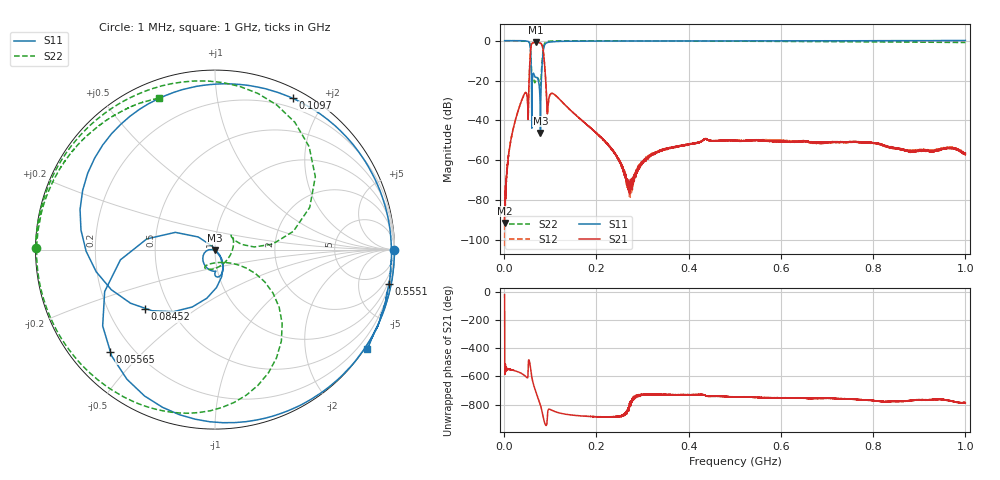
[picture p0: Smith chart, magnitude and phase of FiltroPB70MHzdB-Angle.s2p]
# Hz S DB R 50
! CMT, S5048, 17087083, 18.1.5/2
! Date: 07/03/2018 15:12:27
! Data: Format (Calibration Info)
! Freq  S11: dB/Ang (F2)  S21: dB/Ang (F2)  S12: dB/Ang (F2)  S22: dB/Ang (F2)
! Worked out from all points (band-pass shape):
!   10000 points, 1 MHz to 1 GHz, reference 50 ohm
!   highest |S21| = -0.89 dB at 68.84 MHz (marker M1); lowest = -91.5 dB at 1.1 MHz (marker M2)
!   |S21| within 3 dB of the highest: 57.69 MHz to 83.89 MHz (26.2 MHz wide, 37 % of centre)
!   lowest |S11| = -46.2 dB at 78.73 MHz (marker M3), VSWR 1.01, Z = 49.8 - j0.42 ohm
!   |S11| at or under -10 dB: 58.23 MHz to 82.89 MHz (24.66 MHz wide, 35 % of centre)
!   |S22| runs from -22.7 to 0.0 dB; largest |S21 - S12| = 0.0015
!   S11 on the Smith chart (normalised r, x): 1 MHz: open; 55.65 MHz: 0.12, -0.40; 84.52 MHz: 0.36, -0.32; 109.7 MHz: 0.10, +1.63; 555.1 MHz: 1, -10; 1 GHz: -0.07, -3.34
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1000000  -0.00 -0.1  -84.41 -20.7  -103.06 83.4  -0.02 179.6
1099910  -0.00 -0.1  -91.47 175.5  -85.53 152.1  -0.02 179.5
1.508731e7  0.00 -11.5  -49.19 167.4  -49.26 167.2  -0.03 169.6
3.906571e7  -0.03 -42.4  -29.20 138.0  -29.18 138.1  -0.12 142.3
4.935644e7  -0.19 -75.5  -27.25 110.0  -27.26 110.1  -0.33 112.0
5.565077e7  -1.76 -135.9  -11.17 -146.8  -11.18 -146.7  -1.64 56.2
6.30441e7  -16.27 -83.2  -1.08 69.6  -1.08 69.6  -18.47 32.6
6.883888e7  -18.41 -88.1  -0.89 9.5  -0.89 9.6  -19.79 -85.1
7.872997e7  -46.23 -120.1  -1.23 -84.3  -1.23 -84.2  -22.40 -71.0
8.452475e7  -5.81 -139.8  -4.81 -166.1  -4.81 -166.0  -4.71 -49.8
8.942034e7  -1.57 145.8  -17.54 137.3  -17.54 137.4  -0.86 -93.6
9.481548e7  -0.88 106.1  -33.76 -126.1  -33.77 -126.1  -0.36 -117.4
1.097021e8  -0.46 62.8  -27.13 -129.0  -27.12 -129.0  -0.13 -144.0
1.6755e8  -0.24 24.2  -39.79 -160.7  -39.79 -161.0  -0.05 -172.0
2.400846e8  -0.18 10.6  -56.40 -166.0  -56.07 -165.9  -0.07 175.2
2.726553e8  -0.17 6.9  -74.32 -76.1  -75.99 -88.6  -0.09 171.1
3.34e8  -0.16 1.5  -55.86 -7.8  -55.35 -9.0  -0.12 164.3
5.0055e8  -0.12 -8.5  -50.21 -26.8  -50.00 -24.9  -0.26 149.0
5.551008e8  -0.10 -11.2  -50.15 -31.0  -49.87 -28.3  -0.31 144.5
6.67e8  -0.06 -16.8  -50.99 -37.5  -51.11 -41.2  -0.45 135.6
8.3355e8  0.00 -24.7  -53.20 -57.5  -53.26 -57.8  -0.66 122.5
1e9  0.10 -33.3  -56.39 -67.0  -56.50 -67.8  -0.91 110.3
